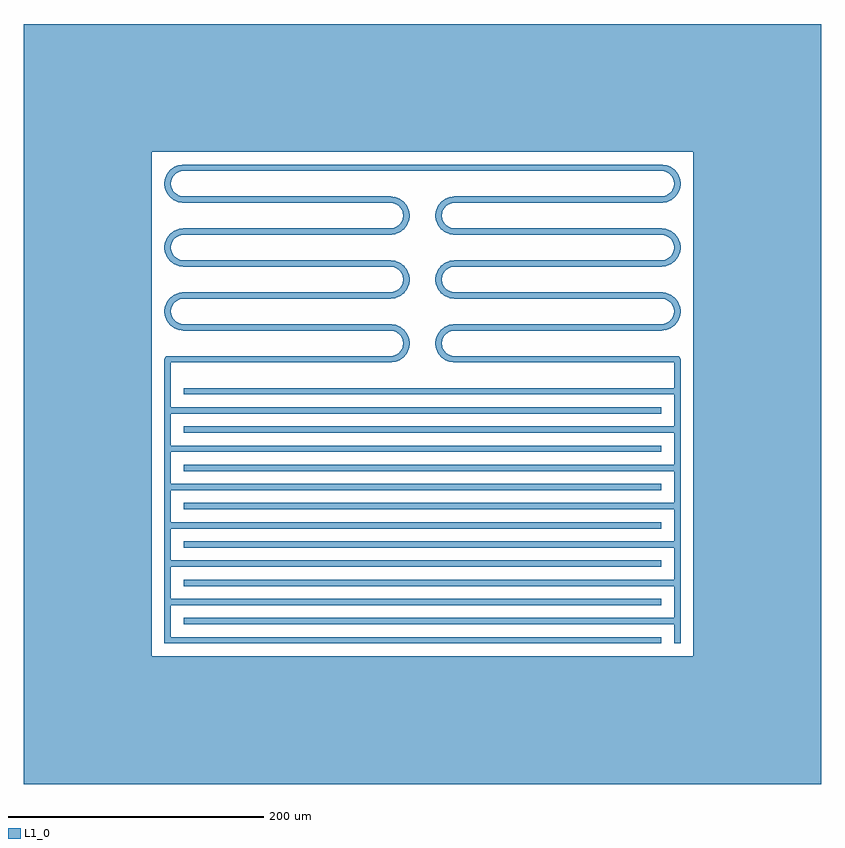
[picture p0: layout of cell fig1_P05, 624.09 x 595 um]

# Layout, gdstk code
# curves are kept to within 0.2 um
import gdstk
lib = gdstk.Library(unit=1e-6, precision=1e-09)
def R(c, l, rs):  # rectangles x0, y0, x1, y1
    for r in rs: c.add(gdstk.rectangle(r[:2], r[2:], *l))
def A(c, l, x, y, w, h, nx, ny, dx, dy):  # array of equal rectangles
    R(c, l, [(x+i*dx, y+j*dy, x+i*dx+w, y+j*dy+h) for i in range(nx) for j in range(ny)])
def P(c, l, *ps):  # polygons
    for p in ps: c.add(gdstk.Polygon(p, *l))
L1_0 = (1, 0)

fig1_p05 = lib.new_cell('fig1_P05')
A(fig1_p05, L1_0, -202.045, 0, 389.09, 5, 1, 7, 0, 30)
A(fig1_p05, L1_0, -187.045, 15, 389.09, 5, 1, 7, 0, 30)
A(fig1_p05, L1_0, -187.045, 245, 162.045, 5, 1, 5, 0, 25)
A(fig1_p05, L1_0, 25, 245, 162.045, 5, 1, 5, 0, 25)
R(fig1_p05, L1_0, [(-312.045,-110,312.045,-10), (-312.045,-10,-212.045,385), (212.045,-10,312.045,385), (-202.045,0,-197.045,200), (197.045,0,202.045,200), (-202.045,197.5,-197.045,222.5), (197.045,197.5,202.045,222.5), (-199.545,220,-25,225), (25,220,199.545,225), (-187.045,370,187.045,375), (-312.045,385,312.045,485)])
P(fig1_p05, L1_0, [(14.979,334.674),(10.021,335.326),(10.447,338.562),(15.405,337.909)],
  [(12.926,335.735),(11.158,336.467),(10.426,338.235),(11.158,340.003),(12.926,340.735),(14.694,340.003),(15.426,338.235),(14.694,336.467)],
  [(12.5,332.5),(10.732,333.232),(10,335),(10.732,336.768),(12.5,337.5),(14.268,336.768),(15,335),(14.268,333.232)],
  [(194.817,347.191),(191.773,351.158),(194.362,353.145),(197.406,349.178)],
  [(191.237,345.616),(189.324,350.236),(192.338,351.484),(194.252,346.865)],
  [(187.371,345.021),(186.719,349.979),(189.954,350.405),(190.607,345.447)],
  [(189.954,369.595),(186.719,370.021),(187.371,374.979),(190.607,374.553)],
  [(192.338,368.516),(189.324,369.764),(191.237,374.384),(194.252,373.135)],
  [(194.362,366.855),(191.773,368.842),(194.817,372.809),(197.406,370.822)],
  [(195.887,364.728),(193.9,367.317),(197.867,370.361),(199.854,367.772)],
  [(196.809,362.279),(195.561,365.293),(200.18,367.207),(201.429,364.192)],
  [(197.066,359.674),(196.64,362.909),(201.598,363.562),(202.024,360.326)],
  [(201.598,356.438),(196.64,357.091),(197.066,360.326),(202.024,359.674)],
  [(187.045,370),(185.277,370.732),(184.545,372.5),(185.277,374.268),(187.045,375),(188.813,374.268),(189.545,372.5),(188.813,370.732)],
  [(190.28,369.574),(188.512,370.306),(187.78,372.074),(188.512,373.842),(190.28,374.574),(192.048,373.842),(192.78,372.074),(192.048,370.306)],
  [(193.295,368.325),(191.527,369.058),(190.795,370.825),(191.527,372.593),(193.295,373.325),(195.063,372.593),(195.795,370.825),(195.063,369.058)],
  [(195.884,366.339),(194.116,367.071),(193.384,368.839),(194.116,370.607),(195.884,371.339),(197.652,370.607),(198.384,368.839),(197.652,367.071)],
  [(197.87,363.75),(196.103,364.482),(195.37,366.25),(196.103,368.018),(197.87,368.75),(199.638,368.018),(200.37,366.25),(199.638,364.482)],
  [(199.119,360.735),(197.351,361.467),(196.619,363.235),(197.351,365.003),(199.119,365.735),(200.887,365.003),(201.619,363.235),(200.887,361.467)],
  [(199.545,357.5),(197.777,358.232),(197.045,360),(197.777,361.768),(199.545,362.5),(201.313,361.768),(202.045,360),(201.313,358.232)],
  [(199.119,354.265),(197.351,354.997),(196.619,356.765),(197.351,358.533),(199.119,359.265),(200.887,358.533),(201.619,356.765),(200.887,354.997)],
  [(197.87,351.25),(196.103,351.982),(195.37,353.75),(196.103,355.518),(197.87,356.25),(199.638,355.518),(200.37,353.75),(199.638,351.982)],
  [(195.884,348.661),(194.116,349.393),(193.384,351.161),(194.116,352.929),(195.884,353.661),(197.652,352.929),(198.384,351.161),(197.652,349.393)],
  [(193.295,346.675),(191.527,347.407),(190.795,349.175),(191.527,350.942),(193.295,351.675),(195.063,350.942),(195.795,349.175),(195.063,347.407)],
  [(190.28,345.426),(188.512,346.158),(187.78,347.926),(188.512,349.694),(190.28,350.426),(192.048,349.694),(192.78,347.926),(192.048,346.158)],
  [(187.045,345),(185.277,345.732),(184.545,347.5),(185.277,349.268),(187.045,350),(188.813,349.268),(189.545,347.5),(188.813,345.732)],
  [(200.18,352.793),(195.561,354.707),(196.809,357.721),(201.429,355.808)],
  [(197.867,349.639),(193.9,352.683),(195.887,355.272),(199.854,352.228)],
  [(19.707,343.516),(17.793,348.135),(20.808,349.384),(22.721,344.764)],
  [(17.683,341.855),(14.639,345.822),(17.228,347.809),(20.272,343.842)],
  [(16.158,339.728),(12.191,342.772),(14.178,345.361),(18.145,342.317)],
  [(25,345),(23.232,345.732),(22.5,347.5),(23.232,349.268),(25,350),(26.768,349.268),(27.5,347.5),(26.768,345.732)],
  [(21.765,344.574),(19.997,345.306),(19.265,347.074),(19.997,348.842),(21.765,349.574),(23.533,348.842),(24.265,347.074),(23.533,345.306)],
  [(18.75,343.325),(16.982,344.058),(16.25,345.825),(16.982,347.593),(18.75,348.325),(20.518,347.593),(21.25,345.825),(20.518,344.058)],
  [(16.161,341.339),(14.393,342.071),(13.661,343.839),(14.393,345.607),(16.161,346.339),(17.929,345.607),(18.661,343.839),(17.929,342.071)],
  [(14.175,338.75),(12.407,339.482),(11.675,341.25),(12.407,343.018),(14.175,343.75),(15.942,343.018),(16.675,341.25),(15.942,339.482)],
  [(15.236,337.279),(10.616,339.192),(11.865,342.207),(16.484,340.293)],
  [(22.091,344.595),(21.438,349.553),(24.674,349.979),(25.326,345.021)],
  [(16.158,239.728),(12.191,242.772),(14.178,245.361),(18.145,242.317)],
  [(15.236,237.279),(10.616,239.192),(11.865,242.207),(16.484,240.293)],
  [(14.979,234.674),(10.021,235.326),(10.447,238.562),(15.405,237.909)],
  [(10.447,231.438),(10.021,234.674),(14.979,235.326),(15.405,232.091)],
  [(11.865,227.793),(10.616,230.808),(15.236,232.721),(16.484,229.707)],
  [(14.178,224.639),(12.191,227.228),(16.158,230.272),(18.145,227.683)],
  [(17.228,222.191),(14.639,224.178),(17.683,228.145),(20.272,226.158)],
  [(20.808,220.616),(17.793,221.865),(19.707,226.484),(22.721,225.236)],
  [(24.674,220.021),(21.438,220.447),(22.091,225.405),(25.326,224.979)],
  [(20.808,320.616),(17.793,321.865),(19.707,326.484),(22.721,325.236)],
  [(24.674,320.021),(21.438,320.447),(22.091,325.405),(25.326,324.979)],
  [(10.447,331.438),(10.021,334.674),(14.979,335.326),(15.405,332.091)],
  [(11.865,327.793),(10.616,330.808),(15.236,332.721),(16.484,329.707)],
  [(22.091,294.595),(21.438,299.553),(24.674,299.979),(25.326,295.021)],
  [(19.707,293.516),(17.793,298.135),(20.808,299.384),(22.721,294.764)],
  [(17.683,291.855),(14.639,295.822),(17.228,297.809),(20.272,293.842)],
  [(16.158,289.728),(12.191,292.772),(14.178,295.361),(18.145,292.317)],
  [(15.236,287.279),(10.616,289.192),(11.865,292.207),(16.484,290.293)],
  [(14.979,284.674),(10.021,285.326),(10.447,288.562),(15.405,287.909)],
  [(10.447,281.438),(10.021,284.674),(14.979,285.326),(15.405,282.091)],
  [(11.865,277.793),(10.616,280.808),(15.236,282.721),(16.484,279.707)],
  [(14.178,274.639),(12.191,277.228),(16.158,280.272),(18.145,277.683)],
  [(17.228,272.191),(14.639,274.178),(17.683,278.145),(20.272,276.158)],
  [(20.808,270.616),(17.793,271.865),(19.707,276.484),(22.721,275.236)],
  [(24.674,270.021),(21.438,270.447),(22.091,275.405),(25.326,274.979)],
  [(14.178,324.639),(12.191,327.228),(16.158,330.272),(18.145,327.683)],
  [(17.228,322.191),(14.639,324.178),(17.683,328.145),(20.272,326.158)],
  [(22.091,244.595),(21.438,249.553),(24.674,249.979),(25.326,245.021)],
  [(19.707,243.516),(17.793,248.135),(20.808,249.384),(22.721,244.764)],
  [(17.683,241.855),(14.639,245.822),(17.228,247.809),(20.272,243.842)],
  [(12.926,329.265),(11.158,329.997),(10.426,331.765),(11.158,333.533),(12.926,334.265),(14.694,333.533),(15.426,331.765),(14.694,329.997)],
  [(14.175,326.25),(12.407,326.982),(11.675,328.75),(12.407,330.518),(14.175,331.25),(15.942,330.518),(16.675,328.75),(15.942,326.982)],
  [(16.161,323.661),(14.393,324.393),(13.661,326.161),(14.393,327.929),(16.161,328.661),(17.929,327.929),(18.661,326.161),(17.929,324.393)],
  [(18.75,321.675),(16.982,322.407),(16.25,324.175),(16.982,325.942),(18.75,326.675),(20.518,325.942),(21.25,324.175),(20.518,322.407)],
  [(21.765,320.426),(19.997,321.158),(19.265,322.926),(19.997,324.694),(21.765,325.426),(23.533,324.694),(24.265,322.926),(23.533,321.158)],
  [(25,320),(23.232,320.732),(22.5,322.5),(23.232,324.268),(25,325),(26.768,324.268),(27.5,322.5),(26.768,320.732)],
  [(25,295),(23.232,295.732),(22.5,297.5),(23.232,299.268),(25,300),(26.768,299.268),(27.5,297.5),(26.768,295.732)],
  [(21.765,294.574),(19.997,295.306),(19.265,297.074),(19.997,298.842),(21.765,299.574),(23.533,298.842),(24.265,297.074),(23.533,295.306)],
  [(18.75,293.325),(16.982,294.058),(16.25,295.825),(16.982,297.593),(18.75,298.325),(20.518,297.593),(21.25,295.825),(20.518,294.058)],
  [(16.161,291.339),(14.393,292.071),(13.661,293.839),(14.393,295.607),(16.161,296.339),(17.929,295.607),(18.661,293.839),(17.929,292.071)],
  [(14.175,288.75),(12.407,289.482),(11.675,291.25),(12.407,293.018),(14.175,293.75),(15.942,293.018),(16.675,291.25),(15.942,289.482)],
  [(12.926,285.735),(11.158,286.467),(10.426,288.235),(11.158,290.003),(12.926,290.735),(14.694,290.003),(15.426,288.235),(14.694,286.467)],
  [(12.5,282.5),(10.732,283.232),(10,285),(10.732,286.768),(12.5,287.5),(14.268,286.768),(15,285),(14.268,283.232)],
  [(12.926,279.265),(11.158,279.997),(10.426,281.765),(11.158,283.533),(12.926,284.265),(14.694,283.533),(15.426,281.765),(14.694,279.997)],
  [(14.175,276.25),(12.407,276.982),(11.675,278.75),(12.407,280.518),(14.175,281.25),(15.942,280.518),(16.675,278.75),(15.942,276.982)],
  [(16.161,273.661),(14.393,274.393),(13.661,276.161),(14.393,277.929),(16.161,278.661),(17.929,277.929),(18.661,276.161),(17.929,274.393)],
  [(18.75,271.675),(16.982,272.407),(16.25,274.175),(16.982,275.942),(18.75,276.675),(20.518,275.942),(21.25,274.175),(20.518,272.407)],
  [(21.765,270.426),(19.997,271.158),(19.265,272.926),(19.997,274.694),(21.765,275.426),(23.533,274.694),(24.265,272.926),(23.533,271.158)],
  [(25,270),(23.232,270.732),(22.5,272.5),(23.232,274.268),(25,275),(26.768,274.268),(27.5,272.5),(26.768,270.732)],
  [(25,245),(23.232,245.732),(22.5,247.5),(23.232,249.268),(25,250),(26.768,249.268),(27.5,247.5),(26.768,245.732)],
  [(21.765,244.574),(19.997,245.306),(19.265,247.074),(19.997,248.842),(21.765,249.574),(23.533,248.842),(24.265,247.074),(23.533,245.306)],
  [(18.75,243.325),(16.982,244.058),(16.25,245.825),(16.982,247.593),(18.75,248.325),(20.518,247.593),(21.25,245.825),(20.518,244.058)],
  [(16.161,241.339),(14.393,242.071),(13.661,243.839),(14.393,245.607),(16.161,246.339),(17.929,245.607),(18.661,243.839),(17.929,242.071)],
  [(14.175,238.75),(12.407,239.482),(11.675,241.25),(12.407,243.018),(14.175,243.75),(15.942,243.018),(16.675,241.25),(15.942,239.482)],
  [(12.926,235.735),(11.158,236.467),(10.426,238.235),(11.158,240.003),(12.926,240.735),(14.694,240.003),(15.426,238.235),(14.694,236.467)],
  [(12.5,232.5),(10.732,233.232),(10,235),(10.732,236.768),(12.5,237.5),(14.268,236.768),(15,235),(14.268,233.232)],
  [(12.926,229.265),(11.158,229.997),(10.426,231.765),(11.158,233.533),(12.926,234.265),(14.694,233.533),(15.426,231.765),(14.694,229.997)],
  [(14.175,226.25),(12.407,226.982),(11.675,228.75),(12.407,230.518),(14.175,231.25),(15.942,230.518),(16.675,228.75),(15.942,226.982)],
  [(16.161,223.661),(14.393,224.393),(13.661,226.161),(14.393,227.929),(16.161,228.661),(17.929,227.929),(18.661,226.161),(17.929,224.393)],
  [(18.75,221.675),(16.982,222.407),(16.25,224.175),(16.982,225.942),(18.75,226.675),(20.518,225.942),(21.25,224.175),(20.518,222.407)],
  [(21.765,220.426),(19.997,221.158),(19.265,222.926),(19.997,224.694),(21.765,225.426),(23.533,224.694),(24.265,222.926),(23.533,221.158)],
  [(25,220),(23.232,220.732),(22.5,222.5),(23.232,224.268),(25,225),(26.768,224.268),(27.5,222.5),(26.768,220.732)],
  [(190.28,319.574),(188.512,320.306),(187.78,322.074),(188.512,323.842),(190.28,324.574),(192.048,323.842),(192.78,322.074),(192.048,320.306)],
  [(193.295,318.325),(191.527,319.058),(190.795,320.825),(191.527,322.593),(193.295,323.325),(195.063,322.593),(195.795,320.825),(195.063,319.058)],
  [(195.884,316.339),(194.116,317.071),(193.384,318.839),(194.116,320.607),(195.884,321.339),(197.652,320.607),(198.384,318.839),(197.652,317.071)],
  [(197.87,313.75),(196.103,314.482),(195.37,316.25),(196.103,318.018),(197.87,318.75),(199.638,318.018),(200.37,316.25),(199.638,314.482)],
  [(199.119,310.735),(197.351,311.467),(196.619,313.235),(197.351,315.003),(199.119,315.735),(200.887,315.003),(201.619,313.235),(200.887,311.467)],
  [(199.545,307.5),(197.777,308.232),(197.045,310),(197.777,311.768),(199.545,312.5),(201.313,311.768),(202.045,310),(201.313,308.232)],
  [(199.119,304.265),(197.351,304.997),(196.619,306.765),(197.351,308.533),(199.119,309.265),(200.887,308.533),(201.619,306.765),(200.887,304.997)],
  [(197.87,301.25),(196.103,301.982),(195.37,303.75),(196.103,305.518),(197.87,306.25),(199.638,305.518),(200.37,303.75),(199.638,301.982)],
  [(195.884,298.661),(194.116,299.393),(193.384,301.161),(194.116,302.929),(195.884,303.661),(197.652,302.929),(198.384,301.161),(197.652,299.393)],
  [(193.295,296.675),(191.527,297.407),(190.795,299.175),(191.527,300.942),(193.295,301.675),(195.063,300.942),(195.795,299.175),(195.063,297.407)],
  [(190.28,295.426),(188.512,296.158),(187.78,297.926),(188.512,299.694),(190.28,300.426),(192.048,299.694),(192.78,297.926),(192.048,296.158)],
  [(187.045,295),(185.277,295.732),(184.545,297.5),(185.277,299.268),(187.045,300),(188.813,299.268),(189.545,297.5),(188.813,295.732)],
  [(194.362,266.855),(191.773,268.842),(194.817,272.809),(197.406,270.822)],
  [(195.887,264.728),(193.9,267.317),(197.867,270.361),(199.854,267.772)],
  [(196.809,262.279),(195.561,265.293),(200.18,267.207),(201.429,264.192)],
  [(197.066,259.674),(196.64,262.909),(201.598,263.562),(202.024,260.326)],
  [(201.598,256.438),(196.64,257.091),(197.066,260.326),(202.024,259.674)],
  [(200.18,252.793),(195.561,254.707),(196.809,257.721),(201.429,255.808)],
  [(197.867,249.639),(193.9,252.683),(195.887,255.272),(199.854,252.228)],
  [(194.817,247.191),(191.773,251.158),(194.362,253.145),(197.406,249.178)],
  [(191.237,245.616),(189.324,250.236),(192.338,251.484),(194.252,246.865)],
  [(187.371,245.021),(186.719,249.979),(189.954,250.405),(190.607,245.447)],
  [(189.954,319.595),(186.719,320.021),(187.371,324.979),(190.607,324.553)],
  [(192.338,318.516),(189.324,319.764),(191.237,324.384),(194.252,323.135)],
  [(194.362,316.855),(191.773,318.842),(194.817,322.809),(197.406,320.822)],
  [(187.045,270),(185.277,270.732),(184.545,272.5),(185.277,274.268),(187.045,275),(188.813,274.268),(189.545,272.5),(188.813,270.732)],
  [(190.28,269.574),(188.512,270.306),(187.78,272.074),(188.512,273.842),(190.28,274.574),(192.048,273.842),(192.78,272.074),(192.048,270.306)],
  [(193.295,268.325),(191.527,269.058),(190.795,270.825),(191.527,272.593),(193.295,273.325),(195.063,272.593),(195.795,270.825),(195.063,269.058)],
  [(195.884,266.339),(194.116,267.071),(193.384,268.839),(194.116,270.607),(195.884,271.339),(197.652,270.607),(198.384,268.839),(197.652,267.071)],
  [(197.87,263.75),(196.103,264.482),(195.37,266.25),(196.103,268.018),(197.87,268.75),(199.638,268.018),(200.37,266.25),(199.638,264.482)],
  [(199.119,260.735),(197.351,261.467),(196.619,263.235),(197.351,265.003),(199.119,265.735),(200.887,265.003),(201.619,263.235),(200.887,261.467)],
  [(199.545,257.5),(197.777,258.232),(197.045,260),(197.777,261.768),(199.545,262.5),(201.313,261.768),(202.045,260),(201.313,258.232)],
  [(199.119,254.265),(197.351,254.997),(196.619,256.765),(197.351,258.533),(199.119,259.265),(200.887,258.533),(201.619,256.765),(200.887,254.997)],
  [(197.87,251.25),(196.103,251.982),(195.37,253.75),(196.103,255.518),(197.87,256.25),(199.638,255.518),(200.37,253.75),(199.638,251.982)],
  [(195.884,248.661),(194.116,249.393),(193.384,251.161),(194.116,252.929),(195.884,253.661),(197.652,252.929),(198.384,251.161),(197.652,249.393)],
  [(193.295,246.675),(191.527,247.407),(190.795,249.175),(191.527,250.942),(193.295,251.675),(195.063,250.942),(195.795,249.175),(195.063,247.407)],
  [(190.28,245.426),(188.512,246.158),(187.78,247.926),(188.512,249.694),(190.28,250.426),(192.048,249.694),(192.78,247.926),(192.048,246.158)],
  [(187.045,245),(185.277,245.732),(184.545,247.5),(185.277,249.268),(187.045,250),(188.813,249.268),(189.545,247.5),(188.813,245.732)],
  [(195.887,314.728),(193.9,317.317),(197.867,320.361),(199.854,317.772)],
  [(196.809,312.279),(195.561,315.293),(200.18,317.207),(201.429,314.192)],
  [(197.066,309.674),(196.64,312.909),(201.598,313.562),(202.024,310.326)],
  [(201.598,306.438),(196.64,307.091),(197.066,310.326),(202.024,309.674)],
  [(200.18,302.793),(195.561,304.707),(196.809,307.721),(201.429,305.808)],
  [(197.867,299.639),(193.9,302.683),(195.887,305.272),(199.854,302.228)],
  [(194.817,297.191),(191.773,301.158),(194.362,303.145),(197.406,299.178)],
  [(191.237,295.616),(189.324,300.236),(192.338,301.484),(194.252,296.865)],
  [(187.371,295.021),(186.719,299.979),(189.954,300.405),(190.607,295.447)],
  [(189.954,269.595),(186.719,270.021),(187.371,274.979),(190.607,274.553)],
  [(192.338,268.516),(189.324,269.764),(191.237,274.384),(194.252,273.135)],
  [(187.045,320),(185.277,320.732),(184.545,322.5),(185.277,324.268),(187.045,325),(188.813,324.268),(189.545,322.5),(188.813,320.732)],
  [(199.545,220),(197.777,220.732),(197.045,222.5),(197.777,224.268),(199.545,225),(201.313,224.268),(202.045,222.5),(201.313,220.732)],
  [(-12.5,332.5),(-14.268,333.232),(-15,335),(-14.268,336.768),(-12.5,337.5),(-10.732,336.768),(-10,335),(-10.732,333.232)],
  [(-12.926,335.735),(-14.694,336.467),(-15.426,338.235),(-14.694,340.003),(-12.926,340.735),(-11.158,340.003),(-10.426,338.235),(-11.158,336.467)],
  [(-14.979,334.674),(-15.405,337.909),(-10.447,338.562),(-10.021,335.326)],
  [(-18.75,343.325),(-20.518,344.058),(-21.25,345.825),(-20.518,347.593),(-18.75,348.325),(-16.982,347.593),(-16.25,345.825),(-16.982,344.058)],
  [(-21.765,344.574),(-23.533,345.306),(-24.265,347.074),(-23.533,348.842),(-21.765,349.574),(-19.997,348.842),(-19.265,347.074),(-19.997,345.306)],
  [(-25,345),(-26.768,345.732),(-27.5,347.5),(-26.768,349.268),(-25,350),(-23.232,349.268),(-22.5,347.5),(-23.232,345.732)],
  [(-14.175,338.75),(-15.942,339.482),(-16.675,341.25),(-15.942,343.018),(-14.175,343.75),(-12.407,343.018),(-11.675,341.25),(-12.407,339.482)],
  [(-15.236,337.279),(-16.484,340.293),(-11.865,342.207),(-10.616,339.192)],
  [(-16.158,339.728),(-18.145,342.317),(-14.178,345.361),(-12.191,342.772)],
  [(-17.683,341.855),(-20.272,343.842),(-17.228,347.809),(-14.639,345.822)],
  [(-19.707,343.516),(-22.721,344.764),(-20.808,349.384),(-17.793,348.135)],
  [(-22.091,344.595),(-25.326,345.021),(-24.674,349.979),(-21.438,349.553)],
  [(-16.161,341.339),(-17.929,342.071),(-18.661,343.839),(-17.929,345.607),(-16.161,346.339),(-14.393,345.607),(-13.661,343.839),(-14.393,342.071)],
  [(-187.045,370),(-188.813,370.732),(-189.545,372.5),(-188.813,374.268),(-187.045,375),(-185.277,374.268),(-184.545,372.5),(-185.277,370.732)],
  [(-187.045,345),(-188.813,345.732),(-189.545,347.5),(-188.813,349.268),(-187.045,350),(-185.277,349.268),(-184.545,347.5),(-185.277,345.732)],
  [(-190.28,345.426),(-192.048,346.158),(-192.78,347.926),(-192.048,349.694),(-190.28,350.426),(-188.512,349.694),(-187.78,347.926),(-188.512,346.158)],
  [(-193.295,346.675),(-195.063,347.407),(-195.795,349.175),(-195.063,350.942),(-193.295,351.675),(-191.527,350.942),(-190.795,349.175),(-191.527,347.407)],
  [(-195.884,348.661),(-197.652,349.393),(-198.384,351.161),(-197.652,352.929),(-195.884,353.661),(-194.116,352.929),(-193.384,351.161),(-194.116,349.393)],
  [(-197.87,351.25),(-199.638,351.982),(-200.37,353.75),(-199.638,355.518),(-197.87,356.25),(-196.103,355.518),(-195.37,353.75),(-196.103,351.982)],
  [(-199.119,354.265),(-200.887,354.997),(-201.619,356.765),(-200.887,358.533),(-199.119,359.265),(-197.351,358.533),(-196.619,356.765),(-197.351,354.997)],
  [(-199.545,357.5),(-201.313,358.232),(-202.045,360),(-201.313,361.768),(-199.545,362.5),(-197.777,361.768),(-197.045,360),(-197.777,358.232)],
  [(-199.119,360.735),(-200.887,361.467),(-201.619,363.235),(-200.887,365.003),(-199.119,365.735),(-197.351,365.003),(-196.619,363.235),(-197.351,361.467)],
  [(-197.87,363.75),(-199.638,364.482),(-200.37,366.25),(-199.638,368.018),(-197.87,368.75),(-196.103,368.018),(-195.37,366.25),(-196.103,364.482)],
  [(-195.884,366.339),(-197.652,367.071),(-198.384,368.839),(-197.652,370.607),(-195.884,371.339),(-194.116,370.607),(-193.384,368.839),(-194.116,367.071)],
  [(-193.295,368.325),(-195.063,369.058),(-195.795,370.825),(-195.063,372.593),(-193.295,373.325),(-191.527,372.593),(-190.795,370.825),(-191.527,369.058)],
  [(-190.28,369.574),(-192.048,370.306),(-192.78,372.074),(-192.048,373.842),(-190.28,374.574),(-188.512,373.842),(-187.78,372.074),(-188.512,370.306)],
  [(-187.371,345.021),(-190.607,345.447),(-189.954,350.405),(-186.719,349.979)],
  [(-191.237,345.616),(-194.252,346.865),(-192.338,351.484),(-189.324,350.236)],
  [(-194.817,347.191),(-197.406,349.178),(-194.362,353.145),(-191.773,351.158)],
  [(-197.867,349.639),(-199.854,352.228),(-195.887,355.272),(-193.9,352.683)],
  [(-200.18,352.793),(-201.429,355.808),(-196.809,357.721),(-195.561,354.707)],
  [(-201.598,356.438),(-202.024,359.674),(-197.066,360.326),(-196.64,357.091)],
  [(-197.066,359.674),(-202.024,360.326),(-201.598,363.562),(-196.64,362.909)],
  [(-196.809,362.279),(-201.429,364.192),(-200.18,367.207),(-195.561,365.293)],
  [(-195.887,364.728),(-199.854,367.772),(-197.867,370.361),(-193.9,367.317)],
  [(-194.362,366.855),(-197.406,370.822),(-194.817,372.809),(-191.773,368.842)],
  [(-192.338,368.516),(-194.252,373.135),(-191.237,374.384),(-189.324,369.764)],
  [(-189.954,369.595),(-190.607,374.553),(-187.371,374.979),(-186.719,370.021)],
  [(-195.884,298.661),(-197.652,299.393),(-198.384,301.161),(-197.652,302.929),(-195.884,303.661),(-194.116,302.929),(-193.384,301.161),(-194.116,299.393)],
  [(-197.87,301.25),(-199.638,301.982),(-200.37,303.75),(-199.638,305.518),(-197.87,306.25),(-196.103,305.518),(-195.37,303.75),(-196.103,301.982)],
  [(-199.119,304.265),(-200.887,304.997),(-201.619,306.765),(-200.887,308.533),(-199.119,309.265),(-197.351,308.533),(-196.619,306.765),(-197.351,304.997)],
  [(-199.545,307.5),(-201.313,308.232),(-202.045,310),(-201.313,311.768),(-199.545,312.5),(-197.777,311.768),(-197.045,310),(-197.777,308.232)],
  [(-199.119,310.735),(-200.887,311.467),(-201.619,313.235),(-200.887,315.003),(-199.119,315.735),(-197.351,315.003),(-196.619,313.235),(-197.351,311.467)],
  [(-187.371,245.021),(-190.607,245.447),(-189.954,250.405),(-186.719,249.979)],
  [(-191.237,245.616),(-194.252,246.865),(-192.338,251.484),(-189.324,250.236)],
  [(-194.817,247.191),(-197.406,249.178),(-194.362,253.145),(-191.773,251.158)],
  [(-197.867,249.639),(-199.854,252.228),(-195.887,255.272),(-193.9,252.683)],
  [(-200.18,252.793),(-201.429,255.808),(-196.809,257.721),(-195.561,254.707)],
  [(-201.598,256.438),(-202.024,259.674),(-197.066,260.326),(-196.64,257.091)],
  [(-197.066,259.674),(-202.024,260.326),(-201.598,263.562),(-196.64,262.909)],
  [(-196.809,262.279),(-201.429,264.192),(-200.18,267.207),(-195.561,265.293)],
  [(-195.887,264.728),(-199.854,267.772),(-197.867,270.361),(-193.9,267.317)],
  [(-194.362,266.855),(-197.406,270.822),(-194.817,272.809),(-191.773,268.842)],
  [(-192.338,268.516),(-194.252,273.135),(-191.237,274.384),(-189.324,269.764)],
  [(-189.954,269.595),(-190.607,274.553),(-187.371,274.979),(-186.719,270.021)],
  [(-197.87,313.75),(-199.638,314.482),(-200.37,316.25),(-199.638,318.018),(-197.87,318.75),(-196.103,318.018),(-195.37,316.25),(-196.103,314.482)],
  [(-195.884,316.339),(-197.652,317.071),(-198.384,318.839),(-197.652,320.607),(-195.884,321.339),(-194.116,320.607),(-193.384,318.839),(-194.116,317.071)],
  [(-187.371,295.021),(-190.607,295.447),(-189.954,300.405),(-186.719,299.979)],
  [(-191.237,295.616),(-194.252,296.865),(-192.338,301.484),(-189.324,300.236)],
  [(-194.817,297.191),(-197.406,299.178),(-194.362,303.145),(-191.773,301.158)],
  [(-197.867,299.639),(-199.854,302.228),(-195.887,305.272),(-193.9,302.683)],
  [(-200.18,302.793),(-201.429,305.808),(-196.809,307.721),(-195.561,304.707)],
  [(-201.598,306.438),(-202.024,309.674),(-197.066,310.326),(-196.64,307.091)],
  [(-197.066,309.674),(-202.024,310.326),(-201.598,313.562),(-196.64,312.909)],
  [(-196.809,312.279),(-201.429,314.192),(-200.18,317.207),(-195.561,315.293)],
  [(-195.887,314.728),(-199.854,317.772),(-197.867,320.361),(-193.9,317.317)],
  [(-194.362,316.855),(-197.406,320.822),(-194.817,322.809),(-191.773,318.842)],
  [(-192.338,318.516),(-194.252,323.135),(-191.237,324.384),(-189.324,319.764)],
  [(-189.954,319.595),(-190.607,324.553),(-187.371,324.979),(-186.719,320.021)],
  [(-193.295,318.325),(-195.063,319.058),(-195.795,320.825),(-195.063,322.593),(-193.295,323.325),(-191.527,322.593),(-190.795,320.825),(-191.527,319.058)],
  [(-190.28,319.574),(-192.048,320.306),(-192.78,322.074),(-192.048,323.842),(-190.28,324.574),(-188.512,323.842),(-187.78,322.074),(-188.512,320.306)],
  [(-187.045,320),(-188.813,320.732),(-189.545,322.5),(-188.813,324.268),(-187.045,325),(-185.277,324.268),(-184.545,322.5),(-185.277,320.732)],
  [(-199.545,220),(-201.313,220.732),(-202.045,222.5),(-201.313,224.268),(-199.545,225),(-197.777,224.268),(-197.045,222.5),(-197.777,220.732)],
  [(-187.045,245),(-188.813,245.732),(-189.545,247.5),(-188.813,249.268),(-187.045,250),(-185.277,249.268),(-184.545,247.5),(-185.277,245.732)],
  [(-190.28,245.426),(-192.048,246.158),(-192.78,247.926),(-192.048,249.694),(-190.28,250.426),(-188.512,249.694),(-187.78,247.926),(-188.512,246.158)],
  [(-193.295,246.675),(-195.063,247.407),(-195.795,249.175),(-195.063,250.942),(-193.295,251.675),(-191.527,250.942),(-190.795,249.175),(-191.527,247.407)],
  [(-195.884,248.661),(-197.652,249.393),(-198.384,251.161),(-197.652,252.929),(-195.884,253.661),(-194.116,252.929),(-193.384,251.161),(-194.116,249.393)],
  [(-197.87,251.25),(-199.638,251.982),(-200.37,253.75),(-199.638,255.518),(-197.87,256.25),(-196.103,255.518),(-195.37,253.75),(-196.103,251.982)],
  [(-199.119,254.265),(-200.887,254.997),(-201.619,256.765),(-200.887,258.533),(-199.119,259.265),(-197.351,258.533),(-196.619,256.765),(-197.351,254.997)],
  [(-199.545,257.5),(-201.313,258.232),(-202.045,260),(-201.313,261.768),(-199.545,262.5),(-197.777,261.768),(-197.045,260),(-197.777,258.232)],
  [(-199.119,260.735),(-200.887,261.467),(-201.619,263.235),(-200.887,265.003),(-199.119,265.735),(-197.351,265.003),(-196.619,263.235),(-197.351,261.467)],
  [(-197.87,263.75),(-199.638,264.482),(-200.37,266.25),(-199.638,268.018),(-197.87,268.75),(-196.103,268.018),(-195.37,266.25),(-196.103,264.482)],
  [(-195.884,266.339),(-197.652,267.071),(-198.384,268.839),(-197.652,270.607),(-195.884,271.339),(-194.116,270.607),(-193.384,268.839),(-194.116,267.071)],
  [(-193.295,268.325),(-195.063,269.058),(-195.795,270.825),(-195.063,272.593),(-193.295,273.325),(-191.527,272.593),(-190.795,270.825),(-191.527,269.058)],
  [(-190.28,269.574),(-192.048,270.306),(-192.78,272.074),(-192.048,273.842),(-190.28,274.574),(-188.512,273.842),(-187.78,272.074),(-188.512,270.306)],
  [(-187.045,270),(-188.813,270.732),(-189.545,272.5),(-188.813,274.268),(-187.045,275),(-185.277,274.268),(-184.545,272.5),(-185.277,270.732)],
  [(-187.045,295),(-188.813,295.732),(-189.545,297.5),(-188.813,299.268),(-187.045,300),(-185.277,299.268),(-184.545,297.5),(-185.277,295.732)],
  [(-190.28,295.426),(-192.048,296.158),(-192.78,297.926),(-192.048,299.694),(-190.28,300.426),(-188.512,299.694),(-187.78,297.926),(-188.512,296.158)],
  [(-193.295,296.675),(-195.063,297.407),(-195.795,299.175),(-195.063,300.942),(-193.295,301.675),(-191.527,300.942),(-190.795,299.175),(-191.527,297.407)],
  [(-25,245),(-26.768,245.732),(-27.5,247.5),(-26.768,249.268),(-25,250),(-23.232,249.268),(-22.5,247.5),(-23.232,245.732)],
  [(-25,320),(-26.768,320.732),(-27.5,322.5),(-26.768,324.268),(-25,325),(-23.232,324.268),(-22.5,322.5),(-23.232,320.732)],
  [(-21.765,320.426),(-23.533,321.158),(-24.265,322.926),(-23.533,324.694),(-21.765,325.426),(-19.997,324.694),(-19.265,322.926),(-19.997,321.158)],
  [(-18.75,321.675),(-20.518,322.407),(-21.25,324.175),(-20.518,325.942),(-18.75,326.675),(-16.982,325.942),(-16.25,324.175),(-16.982,322.407)],
  [(-16.161,323.661),(-17.929,324.393),(-18.661,326.161),(-17.929,327.929),(-16.161,328.661),(-14.393,327.929),(-13.661,326.161),(-14.393,324.393)],
  [(-14.175,326.25),(-15.942,326.982),(-16.675,328.75),(-15.942,330.518),(-14.175,331.25),(-12.407,330.518),(-11.675,328.75),(-12.407,326.982)],
  [(-12.926,329.265),(-14.694,329.997),(-15.426,331.765),(-14.694,333.533),(-12.926,334.265),(-11.158,333.533),(-10.426,331.765),(-11.158,329.997)],
  [(-25,270),(-26.768,270.732),(-27.5,272.5),(-26.768,274.268),(-25,275),(-23.232,274.268),(-22.5,272.5),(-23.232,270.732)],
  [(-21.765,270.426),(-23.533,271.158),(-24.265,272.926),(-23.533,274.694),(-21.765,275.426),(-19.997,274.694),(-19.265,272.926),(-19.997,271.158)],
  [(-18.75,271.675),(-20.518,272.407),(-21.25,274.175),(-20.518,275.942),(-18.75,276.675),(-16.982,275.942),(-16.25,274.175),(-16.982,272.407)],
  [(-16.161,273.661),(-17.929,274.393),(-18.661,276.161),(-17.929,277.929),(-16.161,278.661),(-14.393,277.929),(-13.661,276.161),(-14.393,274.393)],
  [(-24.674,270.021),(-25.326,274.979),(-22.091,275.405),(-21.438,270.447)],
  [(-20.808,270.616),(-22.721,275.236),(-19.707,276.484),(-17.793,271.865)],
  [(-17.228,272.191),(-20.272,276.158),(-17.683,278.145),(-14.639,274.178)],
  [(-14.178,274.639),(-18.145,277.683),(-16.158,280.272),(-12.191,277.228)],
  [(-11.865,277.793),(-16.484,279.707),(-15.236,282.721),(-10.616,280.808)],
  [(-10.447,281.438),(-15.405,282.091),(-14.979,285.326),(-10.021,284.674)],
  [(-14.979,284.674),(-15.405,287.909),(-10.447,288.562),(-10.021,285.326)],
  [(-15.236,287.279),(-16.484,290.293),(-11.865,292.207),(-10.616,289.192)],
  [(-16.158,289.728),(-18.145,292.317),(-14.178,295.361),(-12.191,292.772)],
  [(-17.683,291.855),(-20.272,293.842),(-17.228,297.809),(-14.639,295.822)],
  [(-19.707,293.516),(-22.721,294.764),(-20.808,299.384),(-17.793,298.135)],
  [(-22.091,294.595),(-25.326,295.021),(-24.674,299.979),(-21.438,299.553)],
  [(-14.175,276.25),(-15.942,276.982),(-16.675,278.75),(-15.942,280.518),(-14.175,281.25),(-12.407,280.518),(-11.675,278.75),(-12.407,276.982)],
  [(-12.926,279.265),(-14.694,279.997),(-15.426,281.765),(-14.694,283.533),(-12.926,284.265),(-11.158,283.533),(-10.426,281.765),(-11.158,279.997)],
  [(-12.5,282.5),(-14.268,283.232),(-15,285),(-14.268,286.768),(-12.5,287.5),(-10.732,286.768),(-10,285),(-10.732,283.232)],
  [(-12.926,285.735),(-14.694,286.467),(-15.426,288.235),(-14.694,290.003),(-12.926,290.735),(-11.158,290.003),(-10.426,288.235),(-11.158,286.467)],
  [(-14.175,288.75),(-15.942,289.482),(-16.675,291.25),(-15.942,293.018),(-14.175,293.75),(-12.407,293.018),(-11.675,291.25),(-12.407,289.482)],
  [(-16.161,291.339),(-17.929,292.071),(-18.661,293.839),(-17.929,295.607),(-16.161,296.339),(-14.393,295.607),(-13.661,293.839),(-14.393,292.071)],
  [(-18.75,293.325),(-20.518,294.058),(-21.25,295.825),(-20.518,297.593),(-18.75,298.325),(-16.982,297.593),(-16.25,295.825),(-16.982,294.058)],
  [(-21.765,294.574),(-23.533,295.306),(-24.265,297.074),(-23.533,298.842),(-21.765,299.574),(-19.997,298.842),(-19.265,297.074),(-19.997,295.306)],
  [(-25,295),(-26.768,295.732),(-27.5,297.5),(-26.768,299.268),(-25,300),(-23.232,299.268),(-22.5,297.5),(-23.232,295.732)],
  [(-25,220),(-26.768,220.732),(-27.5,222.5),(-26.768,224.268),(-25,225),(-23.232,224.268),(-22.5,222.5),(-23.232,220.732)],
  [(-21.765,220.426),(-23.533,221.158),(-24.265,222.926),(-23.533,224.694),(-21.765,225.426),(-19.997,224.694),(-19.265,222.926),(-19.997,221.158)],
  [(-18.75,221.675),(-20.518,222.407),(-21.25,224.175),(-20.518,225.942),(-18.75,226.675),(-16.982,225.942),(-16.25,224.175),(-16.982,222.407)],
  [(-16.161,223.661),(-17.929,224.393),(-18.661,226.161),(-17.929,227.929),(-16.161,228.661),(-14.393,227.929),(-13.661,226.161),(-14.393,224.393)],
  [(-14.175,226.25),(-15.942,226.982),(-16.675,228.75),(-15.942,230.518),(-14.175,231.25),(-12.407,230.518),(-11.675,228.75),(-12.407,226.982)],
  [(-24.674,320.021),(-25.326,324.979),(-22.091,325.405),(-21.438,320.447)],
  [(-20.808,320.616),(-22.721,325.236),(-19.707,326.484),(-17.793,321.865)],
  [(-17.228,322.191),(-20.272,326.158),(-17.683,328.145),(-14.639,324.178)],
  [(-14.178,324.639),(-18.145,327.683),(-16.158,330.272),(-12.191,327.228)],
  [(-11.865,327.793),(-16.484,329.707),(-15.236,332.721),(-10.616,330.808)],
  [(-10.447,331.438),(-15.405,332.091),(-14.979,335.326),(-10.021,334.674)],
  [(-12.926,229.265),(-14.694,229.997),(-15.426,231.765),(-14.694,233.533),(-12.926,234.265),(-11.158,233.533),(-10.426,231.765),(-11.158,229.997)],
  [(-12.5,232.5),(-14.268,233.232),(-15,235),(-14.268,236.768),(-12.5,237.5),(-10.732,236.768),(-10,235),(-10.732,233.232)],
  [(-12.926,235.735),(-14.694,236.467),(-15.426,238.235),(-14.694,240.003),(-12.926,240.735),(-11.158,240.003),(-10.426,238.235),(-11.158,236.467)],
  [(-14.175,238.75),(-15.942,239.482),(-16.675,241.25),(-15.942,243.018),(-14.175,243.75),(-12.407,243.018),(-11.675,241.25),(-12.407,239.482)],
  [(-24.674,220.021),(-25.326,224.979),(-22.091,225.405),(-21.438,220.447)],
  [(-20.808,220.616),(-22.721,225.236),(-19.707,226.484),(-17.793,221.865)],
  [(-17.228,222.191),(-20.272,226.158),(-17.683,228.145),(-14.639,224.178)],
  [(-14.178,224.639),(-18.145,227.683),(-16.158,230.272),(-12.191,227.228)],
  [(-11.865,227.793),(-16.484,229.707),(-15.236,232.721),(-10.616,230.808)],
  [(-10.447,231.438),(-15.405,232.091),(-14.979,235.326),(-10.021,234.674)],
  [(-14.979,234.674),(-15.405,237.909),(-10.447,238.562),(-10.021,235.326)],
  [(-15.236,237.279),(-16.484,240.293),(-11.865,242.207),(-10.616,239.192)],
  [(-16.158,239.728),(-18.145,242.317),(-14.178,245.361),(-12.191,242.772)],
  [(-17.683,241.855),(-20.272,243.842),(-17.228,247.809),(-14.639,245.822)],
  [(-19.707,243.516),(-22.721,244.764),(-20.808,249.384),(-17.793,248.135)],
  [(-22.091,244.595),(-25.326,245.021),(-24.674,249.979),(-21.438,249.553)],
  [(-16.161,241.339),(-17.929,242.071),(-18.661,243.839),(-17.929,245.607),(-16.161,246.339),(-14.393,245.607),(-13.661,243.839),(-14.393,242.071)],
  [(-18.75,243.325),(-20.518,244.058),(-21.25,245.825),(-20.518,247.593),(-18.75,248.325),(-16.982,247.593),(-16.25,245.825),(-16.982,244.058)],
  [(-21.765,244.574),(-23.533,245.306),(-24.265,247.074),(-23.533,248.842),(-21.765,249.574),(-19.997,248.842),(-19.265,247.074),(-19.997,245.306)])

lib.write_gds('fig1_P05.gds')
